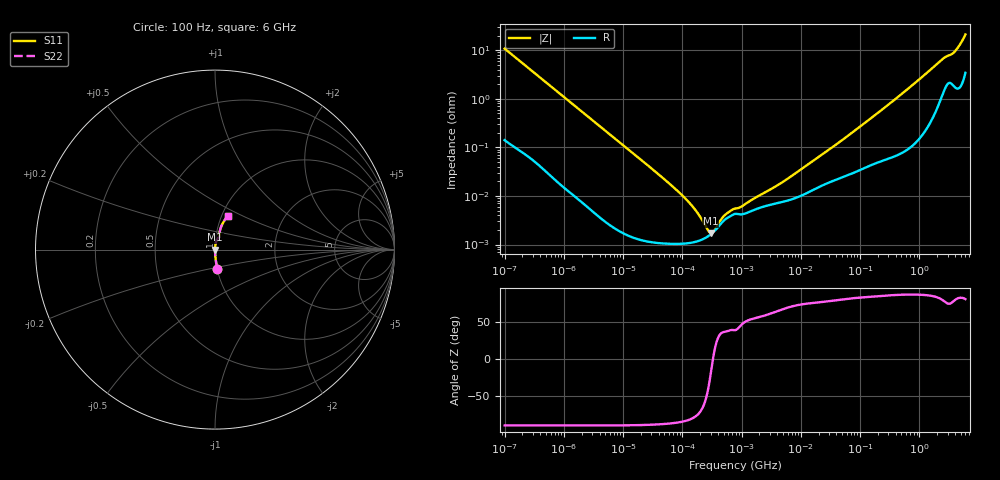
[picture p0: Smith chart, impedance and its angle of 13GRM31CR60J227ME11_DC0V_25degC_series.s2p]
!Murata Part Number: GRM31CR60J227ME11
!These Parameters are Measured in Series Mode Connection
!  o--ll--o
!Port1  Port2
!  o------o
!Operation Temp=25[degC], DC Bias Voltage=0[V]
!Freq. Start=100[Hz] Stop=6[GHz], 401[Steps]
!Data Generated on Aug 3, 2020
# Hz S RI R 50
!Freq.(Hz) S11(Real) S11(Imag) S21(Real) S21(Imag) S12(Real) S12(Imag) S22(Real) S22(Imag)
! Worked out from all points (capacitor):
!   401 points, 100 Hz to 6 GHz, reference 50 ohm
!   read as one part in series: C = 148 uF near 109.4 Hz
!   lowest |Z| = 1.72 mohm at 302.5 kHz (marker M1)
!   series resonance near 328.9 kHz, so ESL is about 1.6 nH
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100  0.0128 -0.1061  0.9872 0.1061  0.9872 0.1061  0.0128 -0.1061
109.3681  0.0109 -0.0972  0.9891 0.0972  0.9891 0.0972  0.0109 -0.0972
334.9849  0.00154 -0.0324  0.9985 0.0324  0.9985 0.0324  0.00154 -0.0324
2008.354  0.000105 -0.0055  0.9999 0.0055  0.9999 0.0055  0.000105 -0.0055
40334.87  1.08e-05 -0.000274  1 0.000274  1 0.000274  1.08e-05 -0.000274
94437.15  1.04e-05 -0.000109  1 0.000109  1 0.000109  1.04e-05 -0.000109
103284.1  1.04e-05 -9.79e-05  1 9.79e-05  1 9.79e-05  1.04e-05 -9.79e-05
112959.9  1.05e-05 -8.76e-05  1 8.76e-05  1 8.76e-05  1.05e-05 -8.76e-05
302498.1  1.63e-05 -5.56e-06  1 5.56e-06  1 5.56e-06  1.63e-05 -5.56e-06
774596.7  4.27e-05 3.44e-05  1 -3.44e-05  1 -3.44e-05  4.27e-05 3.44e-05
1734173  5.31e-05 7.64e-05  0.9999 -7.64e-05  0.9999 -7.64e-05  5.31e-05 7.64e-05
2074311  5.75e-05 8.79e-05  0.9999 -8.79e-05  0.9999 -8.79e-05  5.75e-05 8.79e-05
4856642  7.51e-05 0.000176  0.9999 -0.000176  0.9999 -0.000176  7.51e-05 0.000176
1.555665e7  0.00013 0.000497  0.9999 -0.000497  0.9999 -0.000497  0.00013 0.000497
5.449875e7  0.000253 0.00151  0.9997 -0.00151  0.9997 -0.00151  0.000253 0.00151
3.124326e8  0.000655 0.00782  0.9993 -0.00782  0.9993 -0.00782  0.000655 0.00782
1.000774e9  0.00213 0.025  0.9979 -0.025  0.9979 -0.025  0.00213 0.025
2.34314e9  0.0138 0.0601  0.9862 -0.0601  0.9862 -0.0601  0.0138 0.0601
3.8344e9  0.0251 0.0842  0.9749 -0.0842  0.9749 -0.0842  0.0251 0.0842
4.385646e9  0.0268 0.1032  0.9732 -0.1032  0.9732 -0.1032  0.0268 0.1032
5.486059e9  0.0479 0.1551  0.9521 -0.1551  0.9521 -0.1551  0.0479 0.1551
6e9  0.0706 0.1866  0.9294 -0.1866  0.9294 -0.1866  0.0706 0.1866
